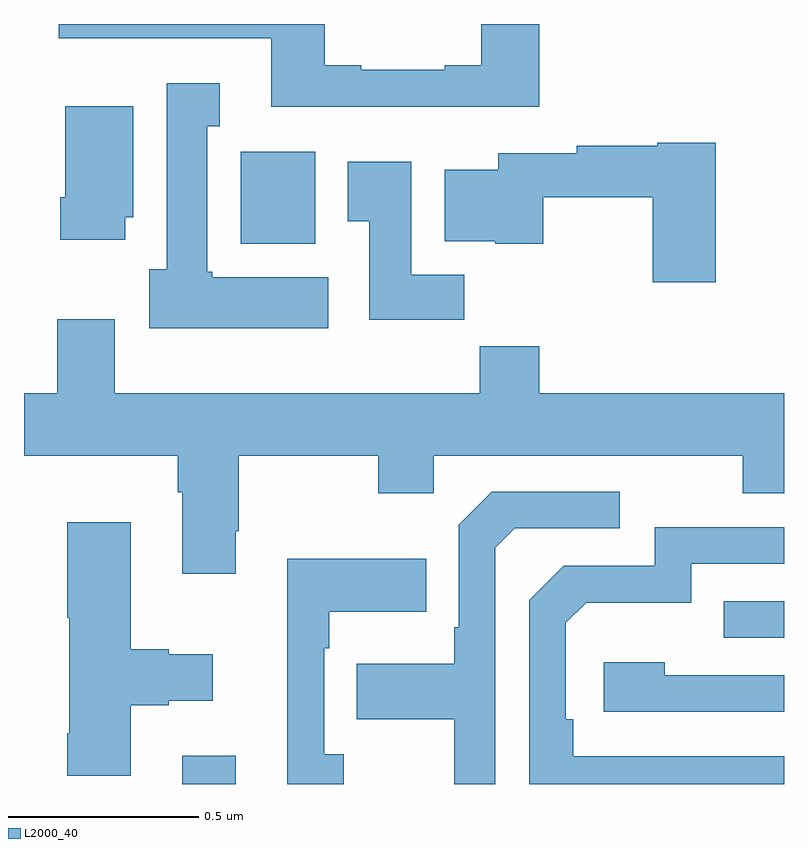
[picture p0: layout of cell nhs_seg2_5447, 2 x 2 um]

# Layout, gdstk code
import gdstk
lib = gdstk.Library(unit=1e-6, precision=1e-09)
def R(c, l, rs):  # rectangles x0, y0, x1, y1
    for r in rs: c.add(gdstk.rectangle(r[:2], r[2:], *l))
def P(c, l, *ps):  # polygons
    for p in ps: c.add(gdstk.Polygon(p, *l))
L2000_40 = (2000, 40)

nhs_seg2_5447 = lib.new_cell('nhs_seg2_5447')
R(nhs_seg2_5447, L2000_40, [(179.417,618.8,179.557,618.874), (180.841,619.185,181,619.281), (179.57,620.222,179.767,620.464)])
P(nhs_seg2_5447, L2000_40, [(180.356,620.8),(180.203,620.8),(180.203,620.692),(180.107,620.692),(180.107,620.679),(179.887,620.679),(179.887,620.692),(179.791,620.692),(179.791,620.8),(179.091,620.8),(179.091,620.763),(179.651,620.763),(179.651,620.582),(180.356,620.582)],
  [(179.8,620.134),(179.496,620.134),(179.496,620.148),(179.482,620.148),(179.482,620.531),(179.515,620.531),(179.515,620.644),(179.375,620.644),(179.375,620.154),(179.33,620.154),(179.33,620),(179.8,620)],
  [(179.266,620.292),(179.287,620.292),(179.287,620.584),(179.108,620.584),(179.108,620.344),(179.096,620.344),(179.096,620.232),(179.266,620.232)],
  [(180.82,620.488),(180.666,620.488),(180.666,620.48),(180.454,620.48),(180.454,620.46),(180.248,620.46),(180.248,620.416),(180.107,620.416),(180.107,620.228),(180.24,620.228),(180.24,620.222),(180.366,620.222),(180.366,620.344),(180.655,620.344),(180.655,620.121),(180.82,620.121)],
  [(180.158,620.14),(180.019,620.14),(180.019,620.437),(179.852,620.437),(179.852,620.281),(179.909,620.281),(179.909,620.022),(180.158,620.022)],
  [(179.557,619.465),(179.565,619.465),(179.565,619.664),(179.932,619.664),(179.932,619.565),(180.078,619.565),(180.078,619.664),(180.892,619.664),(180.892,619.565),(181,619.565),(181,619.828),(180.356,619.828),(180.356,619.952),(180.199,619.952),(180.199,619.828),(179.239,619.828),(179.239,620.023),(179.087,620.023),(179.087,619.828),(179,619.828),(179,619.664),(179.405,619.664),(179.405,619.568),(179.417,619.568),(179.417,619.353),(179.557,619.353)],
  [(180.24,619.422),(180.291,619.473),(180.568,619.473),(180.568,619.569),(180.231,619.569),(180.144,619.482),(180.144,619.213),(180.132,619.213),(180.132,619.117),(179.875,619.117),(179.875,618.97),(180.132,618.97),(180.132,618.8),(180.24,618.8)],
  [(179.281,619.007),(179.381,619.007),(179.381,619.019),(179.497,619.019),(179.497,619.141),(179.381,619.141),(179.381,619.154),(179.281,619.154),(179.281,619.489),(179.114,619.489),(179.114,619.237),(179.119,619.237),(179.119,618.934),(179.114,618.934),(179.114,618.822),(179.281,618.822)],
  [(181,618.873),(180.446,618.873),(180.446,618.97),(180.426,618.97),(180.426,619.224),(180.479,619.277),(180.756,619.277),(180.756,619.38),(181,619.38),(181,619.476),(180.66,619.476),(180.66,619.374),(180.42,619.374),(180.33,619.284),(180.33,618.8),(181,618.8)],
  [(179.842,618.878),(179.79,618.878),(179.79,619.157),(179.803,619.157),(179.803,619.253),(180.059,619.253),(180.059,619.393),(179.693,619.393),(179.693,618.8),(179.842,618.8)],
  [(181,619.086),(180.686,619.086),(180.686,619.12),(180.525,619.12),(180.525,618.99),(181,618.99)])

lib.write_gds('nhs_seg2_5447.gds')
